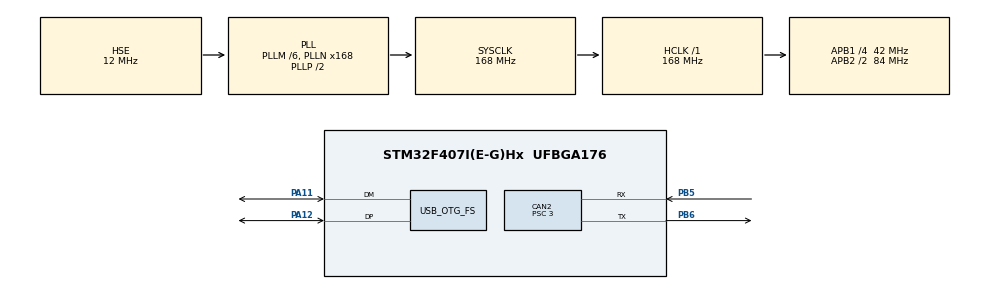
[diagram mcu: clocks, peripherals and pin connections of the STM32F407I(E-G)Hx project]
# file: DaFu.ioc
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CAN2.BS1=CAN_BS1_10TQ
CAN2.BS2=CAN_BS2_3TQ
CAN2.CalculateBaudRate=1000000
CAN2.CalculateTimeBit=1000
CAN2.CalculateTimeQuantum=71.42857142857143
CAN2.Prescaler=3
Mcu.Family=STM32F4
Mcu.Name=STM32F407I(E-G)Hx
Mcu.Package=UFBGA176
NVIC.CAN2_RX0_IRQn=true\:0\:0\:false\:false\:true\:true\:true\:true
NVIC.PriorityGroup=NVIC_PRIORITYGROUP_4
PA11.Mode=Device_Only
PA11.Signal=USB_OTG_FS_DM
PA12.Mode=Device_Only
PA12.Signal=USB_OTG_FS_DP
PA13.Mode=Serial_Wire
PA13.Signal=SYS_JTMS-SWDIO
PA14.Mode=Serial_Wire
PA14.Signal=SYS_JTCK-SWCLK
PB5.Mode=CAN_Activate
PB5.Signal=CAN2_RX
PB6.Mode=CAN_Activate
PB6.Signal=CAN2_TX
PH0-OSC_IN.Mode=HSE-External-Oscillator
PH0-OSC_IN.Signal=RCC_OSC_IN
PH1-OSC_OUT.Mode=HSE-External-Oscillator
PH1-OSC_OUT.Signal=RCC_OSC_OUT
ProjectManager.HeapSize=0x2000
ProjectManager.StackSize=0x2000
ProjectManager.TargetToolchain=MDK-ARM V5.32
RCC.48MHZClocksFreq_Value=48000000
RCC.AHBFreq_Value=168000000
RCC.APB1CLKDivider=RCC_HCLK_DIV4
RCC.APB1Freq_Value=42000000
RCC.APB1TimFreq_Value=84000000
RCC.APB2CLKDivider=RCC_HCLK_DIV2
RCC.APB2Freq_Value=84000000
RCC.APB2TimFreq_Value=168000000
RCC.CortexFreq_Value=168000000
RCC.HCLKFreq_Value=168000000
RCC.HSE_VALUE=12000000
RCC.HSI_VALUE=16000000
RCC.LSE_VALUE=32768
RCC.PLLM=6
RCC.PLLN=168
RCC.PLLQ=7
RCC.SYSCLKFreq_VALUE=168000000
RCC.SYSCLKSource=RCC_SYSCLKSOURCE_PLLCLK
RCC.VCOOutputFreq_Value=336000000
USB_OTG_FS.VirtualMode=Device_Only
board=custom

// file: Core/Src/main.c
/* USER CODE BEGIN Header */
/**
  ******************************************************************************
  * @file           : main.c
  * @brief          : Main program body
  ******************************************************************************
  * @attention
  *
  * Copyright (c) 2026 STMicroelectronics.
  * All rights reserved.
  *
  * This software is licensed under terms that can be found in the LICENSE file
  * in the root directory of this software component.
  * If no LICENSE file comes with this software, it is provided AS-IS.
  *
  ******************************************************************************
  */
/* USER CODE END Header */
#include "main.h"
#include "can.h"
#include "usb_otg.h"
#include "gpio.h"

/* USER CODE BEGIN Includes */
#include "can_task.h"
/* USER CODE END Includes */

/* USER CODE BEGIN PD */
#define ALL_TARGETS_OFF_ID    0x2FF
#define STARTUP_DELAY_MS      2000u
#define STARTUP_STEP_MS       100u

/* USER CODE END PD */

/* USER CODE BEGIN PV */
typedef union
{
    struct __packed
    {
        int16_t q0;
        int16_t q1;
        int16_t q2;
        int16_t q3;
    } DataNeaten;

    uint8_t  Data[8];
}Angle_Aim_Typdef;

Angle_Aim_Typdef sdata;
/* USER CODE END PV */

void SystemClock_Config(void);

int main(void)
{
  uint8_t startup_retry = 0;

  /* MCU Configuration--------------------------------------------------------*/

  /* Reset of all peripherals, Initializes the Flash interface and the Systick. */
  HAL_Init();

  /* Configure the system clock */
  SystemClock_Config();

  /* Initialize all configured peripherals */
  MX_GPIO_Init();
  MX_CAN2_Init();
  MX_USB_OTG_FS_PCD_Init();
  /* USER CODE BEGIN 2 */
  CAN_Filter_Init();
  for (startup_retry = 0; startup_retry < (STARTUP_DELAY_MS / STARTUP_STEP_MS); ++startup_retry)
  {
    RUI_F_CAN_SEDN_UNION(&hcan2 , ALL_TARGETS_OFF_ID , sdata.Data);
    HAL_Delay(STARTUP_STEP_MS);
  }

  /* USER CODE END 2 */

  /* Infinite loop */
  /* USER CODE BEGIN WHILE */
  while (1)
  {
		sdata.DataNeaten.q0 = 1;

		RUI_F_CAN_SEDN_UNION(&hcan2 , 0x201 ,sdata.Data);
    /* USER CODE END WHILE */

  }
}

void SystemClock_Config(void)
{
  RCC_OscInitTypeDef RCC_OscInitStruct = {0};
  RCC_ClkInitTypeDef RCC_ClkInitStruct = {0};

  /** Configure the main internal regulator output voltage
  */
  __HAL_RCC_PWR_CLK_ENABLE();
  __HAL_PWR_VOLTAGESCALING_CONFIG(PWR_REGULATOR_VOLTAGE_SCALE1);

  /** Initializes the RCC Oscillators according to the specified parameters
  * in the RCC_OscInitTypeDef structure.
  */
  RCC_OscInitStruct.OscillatorType = RCC_OSCILLATORTYPE_HSE;
  RCC_OscInitStruct.HSEState = RCC_HSE_ON;
  RCC_OscInitStruct.PLL.PLLState = RCC_PLL_ON;
  RCC_OscInitStruct.PLL.PLLSource = RCC_PLLSOURCE_HSE;
  RCC_OscInitStruct.PLL.PLLM = 6;
  RCC_OscInitStruct.PLL.PLLN = 168;
  RCC_OscInitStruct.PLL.PLLP = RCC_PLLP_DIV2;
  RCC_OscInitStruct.PLL.PLLQ = 7;
  if (HAL_RCC_OscConfig(&RCC_OscInitStruct) != HAL_OK)
  {
    Error_Handler();
  }

  /** Initializes the CPU, AHB and APB buses clocks
  */
  RCC_ClkInitStruct.ClockType = RCC_CLOCKTYPE_HCLK|RCC_CLOCKTYPE_SYSCLK
                              |RCC_CLOCKTYPE_PCLK1|RCC_CLOCKTYPE_PCLK2;
  RCC_ClkInitStruct.SYSCLKSource = RCC_SYSCLKSOURCE_PLLCLK;
  RCC_ClkInitStruct.AHBCLKDivider = RCC_SYSCLK_DIV1;
  RCC_ClkInitStruct.APB1CLKDivider = RCC_HCLK_DIV4;
  RCC_ClkInitStruct.APB2CLKDivider = RCC_HCLK_DIV2;

  if (HAL_RCC_ClockConfig(&RCC_ClkInitStruct, FLASH_LATENCY_5) != HAL_OK)
  {
    Error_Handler();
  }
}

void Error_Handler(void)
{
  __disable_irq();
  while (1)
  {
  }
}
